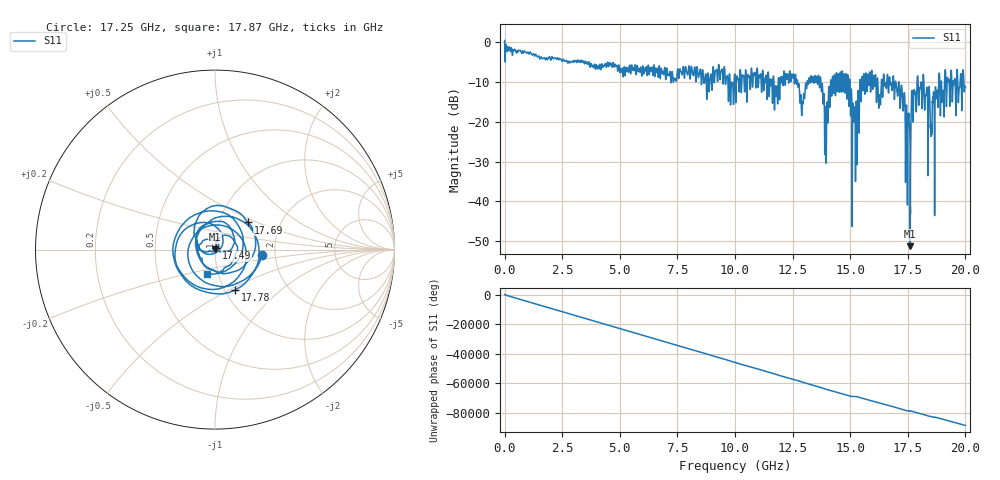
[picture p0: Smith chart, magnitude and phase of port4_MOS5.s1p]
! MS46122B
! 2250307/22442219
! 7/28/2025 2:03:00 PM
! C:\USERS\SPARKY\DOCUMENTS\VNA_DATA\JULY28_2025\3K\PORT4_MOS5.S1P
! CHANNEL.1
! TR.MEASUREMENT
! RAW.DATA
# GHZ S RI R 50.0
! FREQ.GHZ  S11RE  S11IM
!; PortSelection: Port_1
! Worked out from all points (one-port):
!   10001 points, 1 MHz to 20 GHz, reference 50 ohm
!   lowest |S11| = -51.2 dB at 17.61 GHz (marker M1), VSWR 1.01, Z = 49.8 + j0.185 ohm
!   |S11| at or under -10 dB: 14.99 GHz to 15.42 GHz (432.3 MHz wide, 2.84 % of centre); 17.12 GHz to 17.9 GHz (787.4 MHz wide, 4.5 % of centre); 18.2 GHz to 18.84 GHz (641.4 MHz wide, 3.46 % of centre) (the widest 3 of 87)
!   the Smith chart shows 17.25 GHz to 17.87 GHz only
!   S11 on the Smith chart (normalised r, x): 17.25 GHz: 1.71, -0.10; 17.49 GHz: 1.01, +0.01; 17.69 GHz: 1.37, +0.44; 17.78 GHz: 1.11, -0.54; 17.87 GHz: 0.88, -0.24
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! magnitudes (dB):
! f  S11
! 1 MHz  0.4
! 2.501 GHz  -4.9
! 5.001 GHz  -7.7
! 7.501 GHz  -7.1
! 10 GHz  -8.5
! 10.89 GHz  -8.5
! 11.78 GHz  -13.6
! 12.5 GHz  -9.0
! 12.91 GHz  -16.1
! 13.63 GHz  -8.3
! 13.95 GHz  -27.0
! 14.32 GHz  -8.1
! 14.82 GHz  -7.9
! 15 GHz  -12.7
! 15.17 GHz  -20.0
! 15.51 GHz  -8.7
! 15.76 GHz  -8.1
! 17.25 GHz  -11.6
! 17.49 GHz  -40.9
! 17.5 GHz  -20.2
! 17.61 GHz  -51.2
! 17.69 GHz  -12.5
! 17.78 GHz  -12.0
! 17.87 GHz  -17.0
! 18.25 GHz  -14.2
! 18.57 GHz  -15.2
! 18.79 GHz  -13.3
! 20 GHz  -11.2
